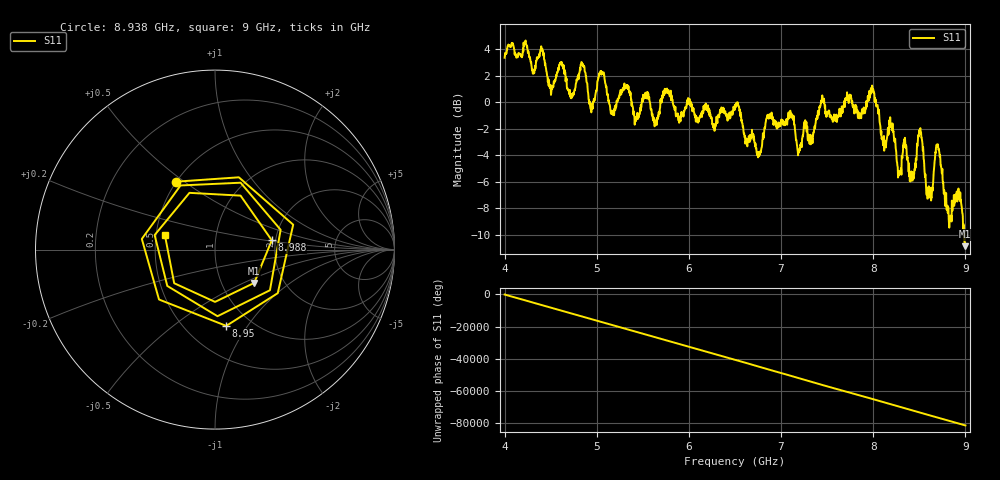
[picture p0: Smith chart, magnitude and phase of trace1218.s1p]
! Created with skrf 1.8.0 (http://scikit-rf.org).
# Hz S RI R 50.0
!freq ReS11 ImS11
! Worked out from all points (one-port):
!   1601 points, 4 GHz to 9 GHz, reference 50 ohm
!   lowest |S11| = -10.9 dB at 8.991 GHz (marker M1), VSWR 1.80, Z = 71.1 - j28.8 ohm
!   |S11| at or under -10 dB: 8.988369 GHz to end of sweep
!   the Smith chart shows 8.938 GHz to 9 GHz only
!   S11 on the Smith chart (normalised r, x): 8.938 GHz: 0.50, +0.47; 8.95 GHz: 0.77, -0.80; 8.988 GHz: 1.91, +0.22; 9 GHz: 0.56, +0.10
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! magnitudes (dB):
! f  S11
! 4 GHz  3.3
! 4.625 GHz  2.8
! 4.728 GHz  0.6
! 4.85 GHz  2.9
! 4.938 GHz  -0.5
! 5.05 GHz  2.1
! 5.162 GHz  -0.6
! 5.25 GHz  0.6
! 5.875 GHz  -1.0
! 6.5 GHz  -0.3
! 6.759 GHz  -3.9
! 6.862 GHz  -1.0
! 7.125 GHz  -1.0
! 7.2 GHz  -3.5
! 7.441 GHz  0.2
! 7.75 GHz  0.4
! 7.994 GHz  0.9
! 8.112 GHz  -3.0
! 8.375 GHz  -4.4
! 8.509 GHz  -2.0
! 8.603 GHz  -6.3
! 8.7 GHz  -3.2
! 8.825 GHz  -9.5
! 8.938 GHz  -7.2
! 8.95 GHz  -7.3
! 8.988 GHz  -9.9
! 8.991 GHz  -10.9
! 9 GHz  -10.7
